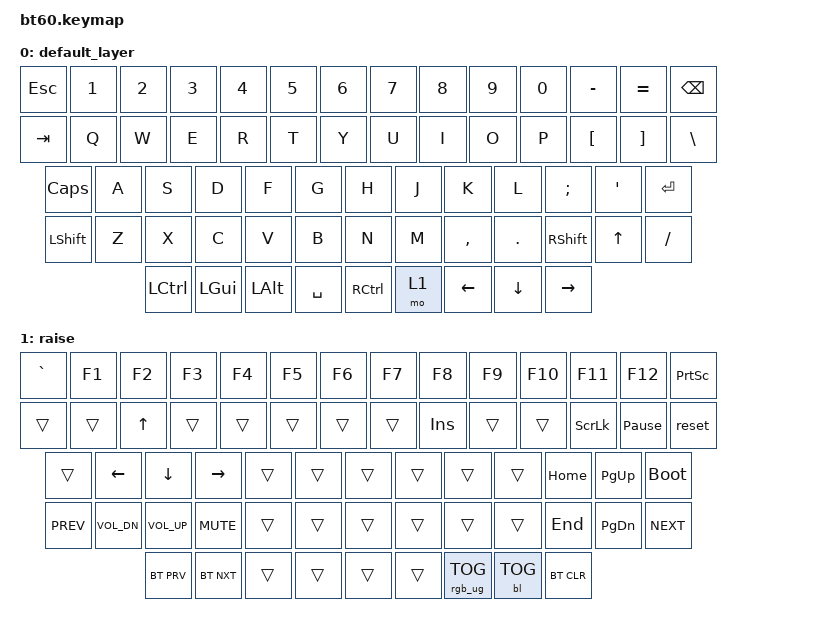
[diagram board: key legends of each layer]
#include <behaviors.dtsi>
#include <dt-bindings/zmk/keys.h>
#include <dt-bindings/zmk/bt.h>
#include <dt-bindings/zmk/rgb.h>
#include <dt-bindings/zmk/backlight.h>

/ {
	keymap {
		compatible = "zmk,keymap";

		default_layer {
				// ------------------------------------------------------------------------------------------
				// | ESC |  1  |  2  |  3  |  4  |  5  |  6  |  7  |  8  |  9  |  0  |  -  |  =  |   BKSP   |
				// | TAB  |  Q  |  W  |  E  |  R  |  T  |  Y  |  U  |  I  |  O  |  P  |  [  |  ]  |     |   |
				// | CAPS  |  A  |  S  |  D  |  F  |  G  |  H  |  J  |  K  |  L  |  ;  |  '  |     ENTER    |
				// |  SHIFT|  Z  |  X  |  C  |  V  |  B  |  N  |  M  |  ,  |  .  | SHFT   | UP | / |
				// |  CTL  |  WIN  |  ALT  |            SPACE              | CTRL | 1 | LEFT | DOWN | RIGHT |
				// ------------------------------------------------------------------------------------------
			bindings = <
				&kp ESC &kp N1 &kp N2 &kp N3 &kp N4 &kp N5 &kp N6 &kp N7 &kp  N8   &kp  N9 &kp  N0  &kp MINUS &kp EQUAL 	&kp BSPC
				&kp TAB  &kp Q  &kp W  &kp E  &kp R  &kp T  &kp Y  &kp U  &kp  I    &kp  O  &kp  P   &kp LBKT &kp RBKT  	&kp BSLH
				&kp CLCK  &kp A  &kp S  &kp D  &kp F  &kp G  &kp H  &kp J  &kp  K    &kp  L  &kp SEMI &kp SQT           	&kp RET
				&kp LSHFT  &kp Z  &kp X  &kp C  &kp V  &kp B  &kp N  &kp M  &kp COMMA &kp DOT &kp RSHFT  			&kp UP 	&kp FSLH
				&kp LCTRL &kp LGUI &kp LALT            &kp SPACE                    	  &kp RCTRL &mo 1 &kp LEFT &kp DOWN &kp RIGHT
			>;
		};
		raise {
			bindings = <
				&kp GRAVE &kp F1 &kp F2 &kp F3 &kp F4 &kp F5 &kp F6 &kp F7 &kp  F8   &kp  F9 &kp  F10  &kp F11 &kp F12   &kp PSCRN
				&trans &trans &kp UP &trans &trans &trans &trans &trans &kp INS &trans &trans &kp SLCK &kp PAUSE_BREAK 	 &reset
				&trans    &kp LEFT &kp DOWN &kp RIGHT &trans &trans &trans &trans &trans &trans &kp HOME  &kp PG_UP   	 &bootloader
				&kp C_PREV &kp C_VOL_DN &kp C_VOL_UP &kp C_MUTE &trans &trans &trans &trans &trans &trans &kp END &kp PG_DN  &kp C_NEXT
				&bt BT_PRV &bt BT_NXT  &trans              &trans                &trans  &trans &rgb_ug RGB_TOG   &bl BL_TOG &bt BT_CLR
			>;
		};
	};
};
